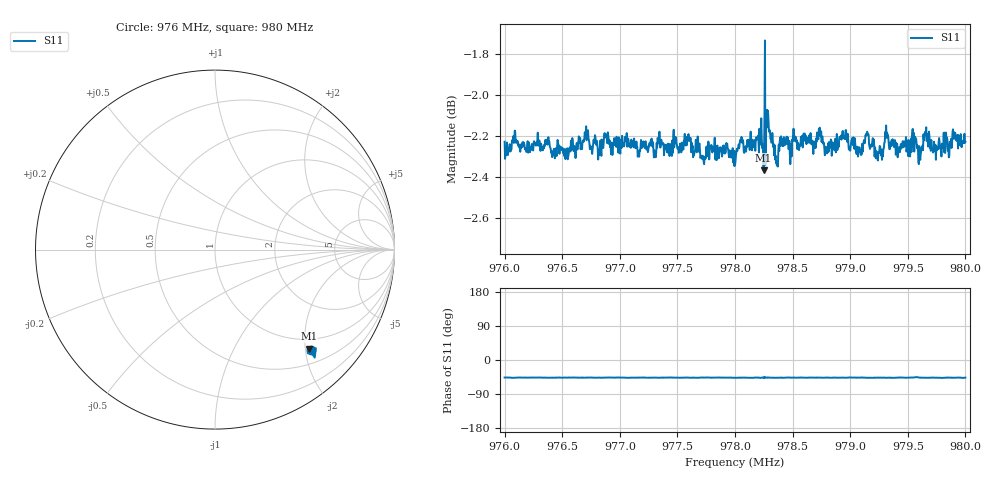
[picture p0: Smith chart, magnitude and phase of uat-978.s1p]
! Calibrated averaged scanner-service zoom
# Hz S RI R 50
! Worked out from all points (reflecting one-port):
!   1001 points, 976 MHz to 980 MHz, reference 50 ohm
!   lowest |S11| = -2.4 dB at 978.248 MHz (marker M1), VSWR 7.38, Z = 39.5 - j104 ohm
!   phase of S11 starts at -46 deg and turns -0 deg over the sweep
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9.76e8  0.5351 -0.5588
9.7608e8  0.5278 -0.565
9.76128e8  0.5362 -0.5542
9.765e8  0.5269 -0.5614
9.77e8  0.5318 -0.5586
9.77064e8  0.5252 -0.5652
9.77176e8  0.5293 -0.5588
9.775e8  0.5326 -0.5572
9.77672e8  0.5278 -0.5611
9.77728e8  0.5262 -0.5554
9.78e8  0.5246 -0.5546
9.78248e8  0.5236 -0.5528
9.78276e8  0.5403 -0.5731
9.78352e8  0.5224 -0.5626
9.785e8  0.5332 -0.5608
9.78952e8  0.5296 -0.5656
9.79e8  0.532 -0.5564
9.79088e8  0.528 -0.5595
9.79144e8  0.5293 -0.5687
9.79244e8  0.5299 -0.5563
9.79372e8  0.5262 -0.5663
9.79432e8  0.529 -0.5585
9.795e8  0.5279 -0.5619
9.79568e8  0.5409 -0.5541
9.79612e8  0.5299 -0.5562
9.79668e8  0.5312 -0.5659
9.79724e8  0.5299 -0.5586
9.8e8  0.5317 -0.562
